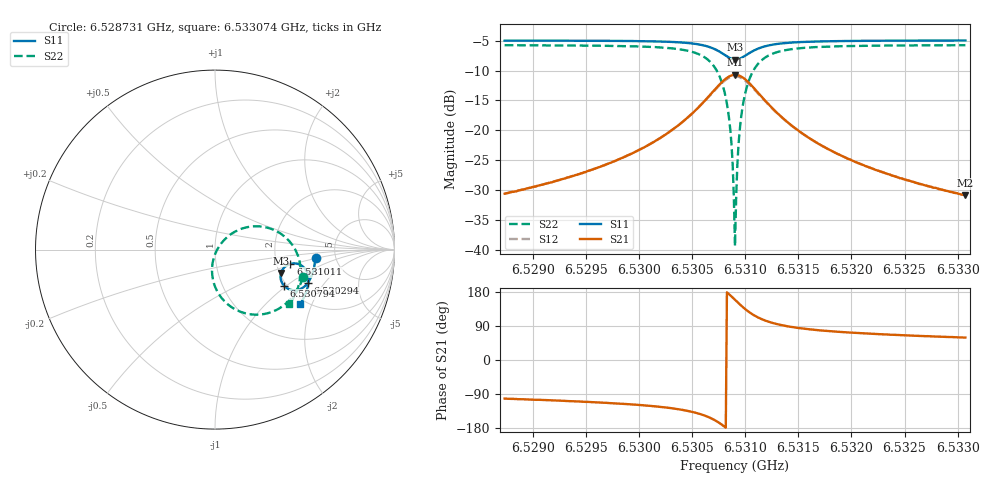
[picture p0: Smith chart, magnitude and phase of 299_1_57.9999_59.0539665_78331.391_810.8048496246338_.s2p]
#  HZ  S  RI  R  50.00
! Rohde & Schwarz Vector Network Analyzer
! Rohde-Schwarz,ZNB20-2Port,1311601062101988,3.16
! Created: UTC 3/21/2024, 1:03:42 AM
! freq[Hz]  re:S11  im:S11  re:S21  im:S21  re:S12  im:S12  re:S22  im:S22
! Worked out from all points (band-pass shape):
!   401 points, 6.528731 GHz to 6.533074 GHz, reference 50 ohm
!   highest |S21| = -10.71 dB at 6.530902 GHz (marker M1); lowest = -30.9 dB at 6.533074 GHz (marker M2)
!   |S21| within 3 dB of the highest: 6.530685 GHz to 6.53112 GHz (434.3 kHz wide, 0.00665 % of centre)
!   lowest |S11| = -8.2 dB at 6.530902 GHz (marker M3), VSWR 2.28, Z = 102 - j31.3 ohm
!   |S11| at or under -10 dB: nowhere
!   |S22| runs from -39.3 to -5.8 dB; largest |S21 - S12| = 0.011
!   S11 on the Smith chart (normalised r, x): 6.528731 GHz: 3.50, -0.45; 6.530294 GHz: 2.59, -1.39; 6.530794 GHz: 1.94, -0.96; 6.531011 GHz: 2.39, -0.46; 6.533074 GHz: 1.85, -1.65
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6.5287308e9  0.5601 -0.044  -0.00614 -0.0289  -0.00675 -0.0289  0.4919 -0.152
6.5294582e9  0.551 -0.1042  -0.015 -0.0412  -0.0159 -0.0411  0.4626 -0.2177
6.5301856e9  0.5244 -0.1748  -0.0467 -0.0712  -0.0487 -0.0698  0.3856 -0.3091
6.5302942e9  0.5156 -0.1877  -0.0591 -0.0788  -0.0614 -0.0772  0.3594 -0.327
6.5306308e9  0.4532 -0.2259  -0.1548 -0.0961  -0.1569 -0.0901  0.1787 -0.3573
6.5307285e9  0.4138 -0.2215  -0.2155 -0.0723  -0.2153 -0.0635  0.0754 -0.3083
6.5307936e9  0.3845 -0.2013  -0.2589 -0.0274  -0.2547 -0.018  0.00905 -0.226
6.5308479e9  0.3675 -0.1697  -0.2804 0.0333  -0.2726 0.041  -0.0167 -0.1216
6.5308696e9  0.3654 -0.1543  -0.2812 0.0618  -0.2722 0.068  -0.0135 -0.0744
6.5308805e9  0.3654 -0.1463  -0.2795 0.0765  -0.27 0.0818  -0.00795 -0.0508
6.5308914e9  0.3664 -0.1382  -0.2761 0.0908  -0.2665 0.0954  -0.000401 -0.0278
6.5309022e9  0.3682 -0.1301  -0.2718 0.105  -0.2618 0.1087  0.00951 -0.00509
6.5309131e9  0.3709 -0.1226  -0.2657 0.1186  -0.2557 0.1214  0.0217 0.0161
6.5309239e9  0.3744 -0.1153  -0.2585 0.1316  -0.2485 0.1334  0.0357 0.0359
6.5309348e9  0.3787 -0.1085  -0.25 0.1435  -0.2402 0.1444  0.0516 0.0539
6.5309565e9  0.389 -0.0966  -0.2302 0.1644  -0.2212 0.1639  0.0871 0.085
6.5310108e9  0.4202 -0.0792  -0.1731 0.1954  -0.1668 0.1927  0.1866 0.1264
6.5310868e9  0.4609 -0.0794  -0.1017 0.1981  -0.0983 0.1953  0.3068 0.1176
6.5311954e9  0.4966 -0.1011  -0.0397 0.1692  -0.0381 0.1676  0.4071 0.0546
6.5316296e9  0.5212 -0.1795  0.0142 0.0819  0.0151 0.0818  0.4773 -0.1292
6.5323571e9  0.5017 -0.2519  0.0169 0.0394  0.0175 0.0392  0.4495 -0.2438
6.5330736e9  0.4745 -0.3048  0.0147 0.0246  0.0152 0.0244  0.4145 -0.3049
